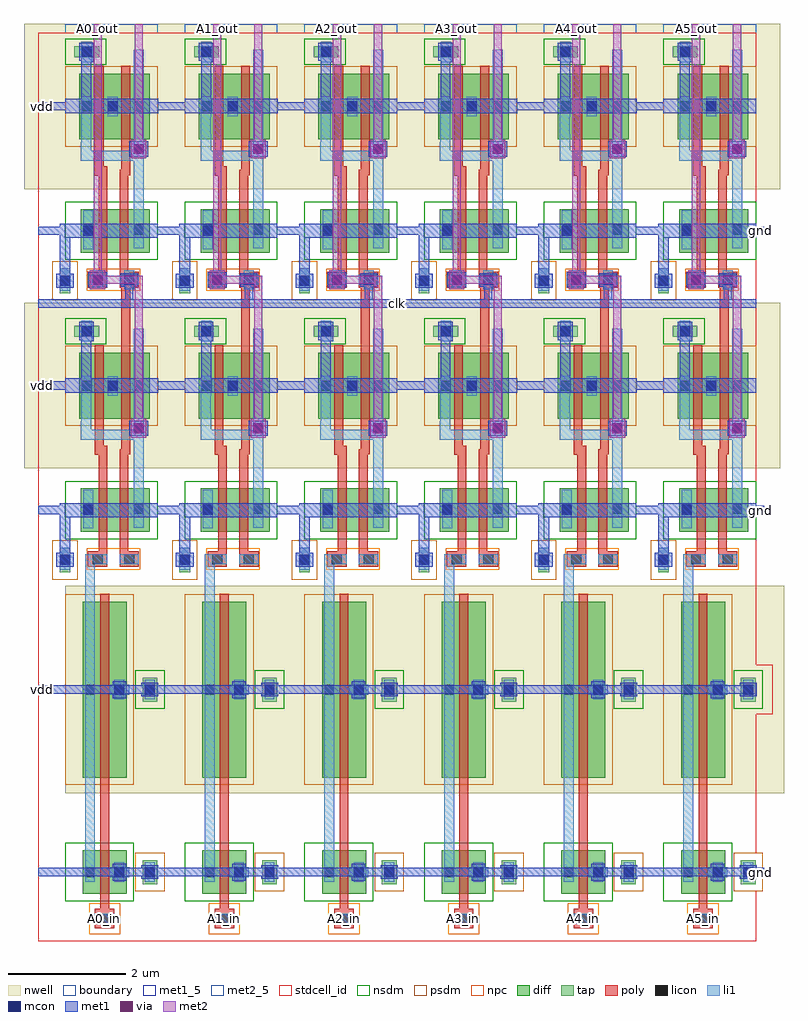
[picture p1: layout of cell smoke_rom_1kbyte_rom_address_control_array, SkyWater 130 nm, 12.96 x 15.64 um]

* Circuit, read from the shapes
.subckt smoke_rom_1kbyte_rom_address_control_array A0_in A0_out A1_in A1_out A2_in A2_out A3_in A3_out A4_in A4_out A5_in A5_out Abar0_out Abar1_out Abar2_out Abar3_out Abar4_out Abar5_out clk gnd vdd
XM1 n1 smoke_rom_1kbyte_rom_address_control_buf_0/sky130_fd_bd_sram__openram_sp_nand2_dec_1/B gnd gnd sky130_fd_pr__nfet_01v8 w=0.74 l=0.15
XM2 n2 A0_out gnd gnd sky130_fd_pr__nfet_01v8 w=0.74 l=0.15
XM3 gnd A0_in smoke_rom_1kbyte_rom_address_control_buf_0/sky130_fd_bd_sram__openram_sp_nand2_dec_1/B gnd sky130_fd_pr__nfet_01v8 w=0.74 l=0.15
XM4 A0_out clk n1 gnd sky130_fd_pr__nfet_01v8 w=0.74 l=0.15
XM5 Abar0_out clk n2 gnd sky130_fd_pr__nfet_01v8 w=0.74 l=0.15
XM6 n3 smoke_rom_1kbyte_rom_address_control_buf_1/sky130_fd_bd_sram__openram_sp_nand2_dec_1/B gnd gnd sky130_fd_pr__nfet_01v8 w=0.74 l=0.15
XM7 n4 A1_out gnd gnd sky130_fd_pr__nfet_01v8 w=0.74 l=0.15
XM8 gnd A1_in smoke_rom_1kbyte_rom_address_control_buf_1/sky130_fd_bd_sram__openram_sp_nand2_dec_1/B gnd sky130_fd_pr__nfet_01v8 w=0.74 l=0.15
XM9 A1_out clk n3 gnd sky130_fd_pr__nfet_01v8 w=0.74 l=0.15
XM10 Abar1_out clk n4 gnd sky130_fd_pr__nfet_01v8 w=0.74 l=0.15
XM11 n5 smoke_rom_1kbyte_rom_address_control_buf_2/sky130_fd_bd_sram__openram_sp_nand2_dec_1/B gnd gnd sky130_fd_pr__nfet_01v8 w=0.74 l=0.15
XM12 n6 A2_out gnd gnd sky130_fd_pr__nfet_01v8 w=0.74 l=0.15
XM13 gnd A2_in smoke_rom_1kbyte_rom_address_control_buf_2/sky130_fd_bd_sram__openram_sp_nand2_dec_1/B gnd sky130_fd_pr__nfet_01v8 w=0.74 l=0.15
XM14 A2_out clk n5 gnd sky130_fd_pr__nfet_01v8 w=0.74 l=0.15
XM15 Abar2_out clk n6 gnd sky130_fd_pr__nfet_01v8 w=0.74 l=0.15
XM16 n7 smoke_rom_1kbyte_rom_address_control_buf_3/sky130_fd_bd_sram__openram_sp_nand2_dec_1/B gnd gnd sky130_fd_pr__nfet_01v8 w=0.74 l=0.15
XM17 n8 A3_out gnd gnd sky130_fd_pr__nfet_01v8 w=0.74 l=0.15
XM18 gnd A3_in smoke_rom_1kbyte_rom_address_control_buf_3/sky130_fd_bd_sram__openram_sp_nand2_dec_1/B gnd sky130_fd_pr__nfet_01v8 w=0.74 l=0.15
XM19 A3_out clk n7 gnd sky130_fd_pr__nfet_01v8 w=0.74 l=0.15
XM20 Abar3_out clk n8 gnd sky130_fd_pr__nfet_01v8 w=0.74 l=0.15
XM21 n9 smoke_rom_1kbyte_rom_address_control_buf_4/sky130_fd_bd_sram__openram_sp_nand2_dec_1/B gnd gnd sky130_fd_pr__nfet_01v8 w=0.74 l=0.15
XM22 n10 A4_out gnd gnd sky130_fd_pr__nfet_01v8 w=0.74 l=0.15
XM23 gnd A4_in smoke_rom_1kbyte_rom_address_control_buf_4/sky130_fd_bd_sram__openram_sp_nand2_dec_1/B gnd sky130_fd_pr__nfet_01v8 w=0.74 l=0.15
XM24 A4_out clk n9 gnd sky130_fd_pr__nfet_01v8 w=0.74 l=0.15
XM25 Abar4_out clk n10 gnd sky130_fd_pr__nfet_01v8 w=0.74 l=0.15
XM26 n11 smoke_rom_1kbyte_rom_address_control_buf_5/sky130_fd_bd_sram__openram_sp_nand2_dec_1/B gnd gnd sky130_fd_pr__nfet_01v8 w=0.74 l=0.15
XM27 n12 A5_out gnd gnd sky130_fd_pr__nfet_01v8 w=0.74 l=0.15
XM28 gnd A5_in smoke_rom_1kbyte_rom_address_control_buf_5/sky130_fd_bd_sram__openram_sp_nand2_dec_1/B gnd sky130_fd_pr__nfet_01v8 w=0.74 l=0.15
XM29 A5_out clk n11 gnd sky130_fd_pr__nfet_01v8 w=0.74 l=0.15
XM30 Abar5_out clk n12 gnd sky130_fd_pr__nfet_01v8 w=0.74 l=0.15
XM31 vdd smoke_rom_1kbyte_rom_address_control_buf_0/sky130_fd_bd_sram__openram_sp_nand2_dec_1/B A0_out vdd sky130_fd_pr__pfet_01v8 w=1.12 l=0.15
XM32 vdd A0_out Abar0_out vdd sky130_fd_pr__pfet_01v8 w=1.12 l=0.15
XM33 vdd A0_in smoke_rom_1kbyte_rom_address_control_buf_0/sky130_fd_bd_sram__openram_sp_nand2_dec_1/B vdd sky130_fd_pr__pfet_01v8 w=3 l=0.15
XM34 A0_out clk vdd vdd sky130_fd_pr__pfet_01v8 w=1.12 l=0.15
XM35 Abar0_out clk vdd vdd sky130_fd_pr__pfet_01v8 w=1.12 l=0.15
XM36 vdd smoke_rom_1kbyte_rom_address_control_buf_1/sky130_fd_bd_sram__openram_sp_nand2_dec_1/B A1_out vdd sky130_fd_pr__pfet_01v8 w=1.12 l=0.15
XM37 vdd A1_out Abar1_out vdd sky130_fd_pr__pfet_01v8 w=1.12 l=0.15
XM38 vdd A1_in smoke_rom_1kbyte_rom_address_control_buf_1/sky130_fd_bd_sram__openram_sp_nand2_dec_1/B vdd sky130_fd_pr__pfet_01v8 w=3 l=0.15
XM39 A1_out clk vdd vdd sky130_fd_pr__pfet_01v8 w=1.12 l=0.15
XM40 Abar1_out clk vdd vdd sky130_fd_pr__pfet_01v8 w=1.12 l=0.15
XM41 vdd smoke_rom_1kbyte_rom_address_control_buf_2/sky130_fd_bd_sram__openram_sp_nand2_dec_1/B A2_out vdd sky130_fd_pr__pfet_01v8 w=1.12 l=0.15
XM42 vdd A2_out Abar2_out vdd sky130_fd_pr__pfet_01v8 w=1.12 l=0.15
XM43 vdd A2_in smoke_rom_1kbyte_rom_address_control_buf_2/sky130_fd_bd_sram__openram_sp_nand2_dec_1/B vdd sky130_fd_pr__pfet_01v8 w=3 l=0.15
XM44 A2_out clk vdd vdd sky130_fd_pr__pfet_01v8 w=1.12 l=0.15
XM45 Abar2_out clk vdd vdd sky130_fd_pr__pfet_01v8 w=1.12 l=0.15
XM46 vdd smoke_rom_1kbyte_rom_address_control_buf_3/sky130_fd_bd_sram__openram_sp_nand2_dec_1/B A3_out vdd sky130_fd_pr__pfet_01v8 w=1.12 l=0.15
XM47 vdd A3_out Abar3_out vdd sky130_fd_pr__pfet_01v8 w=1.12 l=0.15
XM48 vdd A3_in smoke_rom_1kbyte_rom_address_control_buf_3/sky130_fd_bd_sram__openram_sp_nand2_dec_1/B vdd sky130_fd_pr__pfet_01v8 w=3 l=0.15
XM49 A3_out clk vdd vdd sky130_fd_pr__pfet_01v8 w=1.12 l=0.15
XM50 Abar3_out clk vdd vdd sky130_fd_pr__pfet_01v8 w=1.12 l=0.15
XM51 vdd smoke_rom_1kbyte_rom_address_control_buf_4/sky130_fd_bd_sram__openram_sp_nand2_dec_1/B A4_out vdd sky130_fd_pr__pfet_01v8 w=1.12 l=0.15
XM52 vdd A4_out Abar4_out vdd sky130_fd_pr__pfet_01v8 w=1.12 l=0.15
XM53 vdd A4_in smoke_rom_1kbyte_rom_address_control_buf_4/sky130_fd_bd_sram__openram_sp_nand2_dec_1/B vdd sky130_fd_pr__pfet_01v8 w=3 l=0.15
XM54 A4_out clk vdd vdd sky130_fd_pr__pfet_01v8 w=1.12 l=0.15
XM55 Abar4_out clk vdd vdd sky130_fd_pr__pfet_01v8 w=1.12 l=0.15
XM56 vdd smoke_rom_1kbyte_rom_address_control_buf_5/sky130_fd_bd_sram__openram_sp_nand2_dec_1/B A5_out vdd sky130_fd_pr__pfet_01v8 w=1.12 l=0.15
XM57 vdd A5_out Abar5_out vdd sky130_fd_pr__pfet_01v8 w=1.12 l=0.15
XM58 vdd A5_in smoke_rom_1kbyte_rom_address_control_buf_5/sky130_fd_bd_sram__openram_sp_nand2_dec_1/B vdd sky130_fd_pr__pfet_01v8 w=3 l=0.15
XM59 A5_out clk vdd vdd sky130_fd_pr__pfet_01v8 w=1.12 l=0.15
XM60 Abar5_out clk vdd vdd sky130_fd_pr__pfet_01v8 w=1.12 l=0.15
.ends

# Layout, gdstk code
from math import pi, radians
import gdstk
lib = gdstk.Library(unit=1e-6, precision=1e-09)
def R(c, l, rs):  # rectangles x0, y0, x1, y1
    for r in rs: c.add(gdstk.rectangle(r[:2], r[2:], *l))
def A(c, l, x, y, w, h, nx, ny, dx, dy):  # array of equal rectangles
    R(c, l, [(x+i*dx, y+j*dy, x+i*dx+w, y+j*dy+h) for i in range(nx) for j in range(ny)])
nwell = (64, 20)
diff = (65, 20)
tap = (65, 44)
poly = (66, 20)
licon = (66, 44)
li1 = (67, 20)
mcon = (67, 44)
met1_5 = (68, 5)
met1 = (68, 20)
via = (68, 44)
met2_5 = (69, 5)
met2 = (69, 20)
stdcell_id = (81, 4)
nsdm = (93, 44)
psdm = (94, 20)
npc = (95, 20)
boundary = (235, 4)

smoke_rom_1kbyte_contact = lib.new_cell('smoke_rom_1kbyte_contact_10')
R(smoke_rom_1kbyte_contact, nwell, [(-0.295,-0.255,0.545,0.585)])
R(smoke_rom_1kbyte_contact, diff, [(0,0.02,0.25,0.31)])
R(smoke_rom_1kbyte_contact, licon, [(0.04,0.08,0.21,0.25)])
R(smoke_rom_1kbyte_contact, li1, [(0.04,0,0.21,0.33)])
R(smoke_rom_1kbyte_contact, stdcell_id, [(-0.295,-0.255,0.545,0.585)])
R(smoke_rom_1kbyte_contact, psdm, [(-0.125,-0.105,0.375,0.435)])
R(smoke_rom_1kbyte_contact, boundary, [(-0.295,-0.255,0.545,0.585)])

smoke_rom_1kbyte_pmos_m1 = lib.new_cell('smoke_rom_1kbyte_pmos_m1_w3_000_sli_dli_da_p')
R(smoke_rom_1kbyte_pmos_m1, nwell, [(-0.27,-0.27,1.02,3.27)])
R(smoke_rom_1kbyte_pmos_m1, diff, [(0,0,0.75,3)])
R(smoke_rom_1kbyte_pmos_m1, poly, [(0.3,-0.13,0.45,3.13), (0.3,-0.13,0.45,3.13)])
R(smoke_rom_1kbyte_pmos_m1, li1, [(0.04,1.335,0.21,1.665), (0.54,1.335,0.71,1.665)])
R(smoke_rom_1kbyte_pmos_m1, stdcell_id, [(-0.27,-0.27,1.02,3.27)])
R(smoke_rom_1kbyte_pmos_m1, psdm, [(-0.125,-0.125,0.875,3.125)])
R(smoke_rom_1kbyte_pmos_m1, boundary, [(-0.27,-0.27,1.02,3.27)])
smoke_rom_1kbyte_pmos_m1.add(gdstk.Reference(smoke_rom_1kbyte_contact, (0,1.335)))
smoke_rom_1kbyte_pmos_m1.add(gdstk.Reference(smoke_rom_1kbyte_contact, (0.5,1.335)))
smoke_rom_1kbyte_pmos_m1.add(gdstk.Label('G', (0.375,1.5), layer=66, texttype=5))
smoke_rom_1kbyte_pmos_m1.add(gdstk.Label('S', (0.125,1.5), layer=67, texttype=5))
smoke_rom_1kbyte_pmos_m1.add(gdstk.Label('D', (0.625,1.5), layer=67, texttype=5))

c_smoke_rom_1kbyte_contact = lib.new_cell('smoke_rom_1kbyte_contact_8')
R(c_smoke_rom_1kbyte_contact, diff, [(0,0.02,0.25,0.31)])
R(c_smoke_rom_1kbyte_contact, licon, [(0.04,0.08,0.21,0.25)])
R(c_smoke_rom_1kbyte_contact, li1, [(0.04,0,0.21,0.33)])
R(c_smoke_rom_1kbyte_contact, stdcell_id, [(-0.125,-0.105,0.375,0.435)])
R(c_smoke_rom_1kbyte_contact, nsdm, [(-0.125,-0.105,0.375,0.435)])
R(c_smoke_rom_1kbyte_contact, boundary, [(-0.125,-0.105,0.375,0.435)])

smoke_rom_1kbyte_nmos_m1 = lib.new_cell('smoke_rom_1kbyte_nmos_m1_w0_740_sli_dli_da_p')
R(smoke_rom_1kbyte_nmos_m1, diff, [(0,0,0.75,0.74)])
R(smoke_rom_1kbyte_nmos_m1, poly, [(0.3,-0.13,0.45,0.87), (0.3,-0.13,0.45,0.87)])
R(smoke_rom_1kbyte_nmos_m1, li1, [(0.04,0.205,0.21,0.535), (0.54,0.205,0.71,0.535)])
R(smoke_rom_1kbyte_nmos_m1, stdcell_id, [(-0.125,-0.13,0.875,0.87)])
R(smoke_rom_1kbyte_nmos_m1, nsdm, [(-0.125,-0.125,0.875,0.865)])
R(smoke_rom_1kbyte_nmos_m1, boundary, [(-0.125,-0.13,0.875,0.87)])
smoke_rom_1kbyte_nmos_m1.add(gdstk.Reference(c_smoke_rom_1kbyte_contact, (0,0.205)))
smoke_rom_1kbyte_nmos_m1.add(gdstk.Reference(c_smoke_rom_1kbyte_contact, (0.5,0.205)))
smoke_rom_1kbyte_nmos_m1.add(gdstk.Label('G', (0.375,0.37), layer=66, texttype=5))
smoke_rom_1kbyte_nmos_m1.add(gdstk.Label('S', (0.125,0.37), layer=67, texttype=5))
smoke_rom_1kbyte_nmos_m1.add(gdstk.Label('D', (0.625,0.37), layer=67, texttype=5))

c_smoke_rom_1kbyte_contact_ = lib.new_cell('smoke_rom_1kbyte_contact_11')
R(c_smoke_rom_1kbyte_contact_, poly, [(0,0,0.33,0.33)])
R(c_smoke_rom_1kbyte_contact_, licon, [(0.08,0.08,0.25,0.25)])
R(c_smoke_rom_1kbyte_contact_, li1, [(0.08,0,0.25,0.33)])
R(c_smoke_rom_1kbyte_contact_, stdcell_id, [(-0.1,-0.1,0.43,0.43)])
R(c_smoke_rom_1kbyte_contact_, npc, [(-0.1,-0.1,0.43,0.43)])
R(c_smoke_rom_1kbyte_contact_, boundary, [(-0.1,-0.1,0.43,0.43)])

c_smoke_rom_1kbyte_contact__ = lib.new_cell('smoke_rom_1kbyte_contact_12')
R(c_smoke_rom_1kbyte_contact__, li1, [(0.06,0,0.23,0.33)])
R(c_smoke_rom_1kbyte_contact__, mcon, [(0.06,0.08,0.23,0.25)])
R(c_smoke_rom_1kbyte_contact__, met1, [(0,0.05,0.29,0.28)])
R(c_smoke_rom_1kbyte_contact__, stdcell_id, [(0,0,0.29,0.33)])
R(c_smoke_rom_1kbyte_contact__, boundary, [(0,0,0.29,0.33)])

smoke_rom_1kbyte_inv_arr = lib.new_cell('smoke_rom_1kbyte_inv_array_mod')
R(smoke_rom_1kbyte_inv_arr, nwell, [(2.52,0,6.06,2.055)])
R(smoke_rom_1kbyte_inv_arr, poly, [(0.385,0.6,0.68,0.75), (1.68,0.6,2.66,0.75)])
R(smoke_rom_1kbyte_inv_arr, li1, [(1.015,0.34,5.97,0.51), (0.3,0.51,0.47,0.84)])
R(smoke_rom_1kbyte_inv_arr, met1_5, [(1.11,0,1.25,1.58), (4.22,0,4.36,1.58)])
R(smoke_rom_1kbyte_inv_arr, met1, [(1.11,0,1.25,1.58), (4.22,0,4.36,1.58)])
R(smoke_rom_1kbyte_inv_arr, stdcell_id, [(0,0,5.97,1.58), (0,0,5.97,1.58)])
R(smoke_rom_1kbyte_inv_arr, nsdm, [(0.685,0,1.675,1.05)])
R(smoke_rom_1kbyte_inv_arr, psdm, [(2.665,0,5.915,1.05)])
R(smoke_rom_1kbyte_inv_arr, boundary, [(0,0,5.97,1.58), (0,0,5.97,1.58)])
smoke_rom_1kbyte_inv_arr.add(gdstk.Reference(smoke_rom_1kbyte_pmos_m1, (2.79,1.05), rotation=3*pi/2))
smoke_rom_1kbyte_inv_arr.add(gdstk.Reference(smoke_rom_1kbyte_nmos_m1, (0.81,1.05), rotation=3*pi/2))
smoke_rom_1kbyte_inv_arr.add(gdstk.Reference(c_smoke_rom_1kbyte_contact_, (0.22,0.51)))
smoke_rom_1kbyte_inv_arr.add(gdstk.Reference(c_smoke_rom_1kbyte_contact__, (1.035,0.76)))
smoke_rom_1kbyte_inv_arr.add(gdstk.Reference(c_smoke_rom_1kbyte_contact__, (4.145,0.76)))
smoke_rom_1kbyte_inv_arr.add(gdstk.Label('A', (0.385,0.675), layer=67, texttype=5))
smoke_rom_1kbyte_inv_arr.add(gdstk.Label('Z', (3.492,0.425), layer=67, texttype=5))
smoke_rom_1kbyte_inv_arr.add(gdstk.Label('gnd', (1.18,0.79), layer=68, texttype=5))
smoke_rom_1kbyte_inv_arr.add(gdstk.Label('vdd', (4.29,0.79), layer=68, texttype=5))

sky130_fd_bd_sram__openr = lib.new_cell('sky130_fd_bd_sram__openram_sp_nand2_dec')
R(sky130_fd_bd_sram__openr, nwell, [(1.95,-0.7,4.77,1.99)])
R(sky130_fd_bd_sram__openr, diff, [(2.8,0.24,3.92,1.445), (0.87,0.27,1.61,1.445)])
R(sky130_fd_bd_sram__openr, tap, [(0.18,-0.09,0.6,0.09), (4.195,0.16,4.385,0.58)])
R(sky130_fd_bd_sram__openr, poly, [(0.27,0.39,0.54,0.57), (2.18,0.51,4.05,0.57), (0.27,0.57,4.05,0.66), (0.27,0.66,2.34,0.72), (0.27,0.93,2.28,0.96), (0.27,0.96,4.05,1.08), (0.27,1.08,0.54,1.26), (2.19,1.08,4.05,1.11)])
R(sky130_fd_bd_sram__openr, licon, [(0.305,-0.085,0.475,0.085), (3.275,0.28,3.445,0.45), (4.205,0.285,4.375,0.455), (1.185,0.31,1.355,0.48), (0.32,0.47,0.49,0.64), (3.275,0.73,3.445,0.9), (0.32,1.01,0.49,1.18), (1.175,1.17,1.345,1.34), (3.275,1.17,3.445,1.34)])
R(sky130_fd_bd_sram__openr, li1, [(0.22,-0.09,0.6,0.09), (2.435,0.27,2.75,0.275), (2.435,0.275,3.315,0.28), (2.435,0.28,3.53,0.445), (4.115,0.28,4.465,0.46), (0.93,0.31,1.59,0.48), (0.32,0.39,0.49,0.72), (0.32,0.39,0.49,0.72), (2.435,0.445,2.88,0.45), (3.19,0.445,3.53,0.45), (2.435,0.45,2.605,1.17), (3.19,0.73,3.525,0.9), (0.32,0.93,0.49,1.26), (0.32,0.93,0.49,1.26), (0.94,1.17,4.33,1.34), (0.94,1.17,4.33,1.34)])
R(sky130_fd_bd_sram__openr, mcon, [(0.305,-0.085,0.475,0.085), (4.205,0.285,4.375,0.455), (1.16,0.31,1.33,0.48), (3.275,0.73,3.445,0.9)])
R(sky130_fd_bd_sram__openr, met1_5, [(1.12,-0.005,1.36,1.58), (1.12,-0.005,1.36,1.58), (3.24,0.45,3.49,1.585), (3.24,0.45,3.49,1.585)])
R(sky130_fd_bd_sram__openr, met1, [(0.27,-0.15,0.51,-0.09), (0.27,-0.09,1.36,0.09), (1.12,-0.005,1.36,1.58), (3.24,0,3.49,0.28), (0.27,0.09,0.51,0.15), (1.12,0.09,1.36,1.58), (4.135,0.24,4.45,0.28), (3.24,0.28,4.45,0.45), (3.24,0.45,3.49,1.585), (3.24,0.45,3.49,1.585), (4.115,0.45,4.45,0.49)])
R(sky130_fd_bd_sram__openr, nsdm, [(0.745,0,1.735,1.58), (4.07,0,4.51,0.705)])
R(sky130_fd_bd_sram__openr, psdm, [(0.055,-0.215,0.725,0.215), (2.675,0,4.045,1.58)])
R(sky130_fd_bd_sram__openr, npc, [(0.22,0.37,0.59,1.28)])
R(sky130_fd_bd_sram__openr, boundary, [(0,0,4.76,1.58)])
sky130_fd_bd_sram__openr.add(gdstk.Label('GND', (1.24,0.782), layer=68, texttype=5))
sky130_fd_bd_sram__openr.add(gdstk.Label('VDD', (3.365,1.03), layer=68, texttype=5))
sky130_fd_bd_sram__openr.add(gdstk.Label('vdd', (3.365,1.03), layer=68, texttype=5))
sky130_fd_bd_sram__openr.add(gdstk.Label('gnd', (1.24,0.78), layer=68, texttype=5))
sky130_fd_bd_sram__openr.add(gdstk.Label('A', (0.405,1.095), layer=67, texttype=5))
sky130_fd_bd_sram__openr.add(gdstk.Label('B', (0.405,0.555), layer=67, texttype=5))
sky130_fd_bd_sram__openr.add(gdstk.Label('Z', (2.635,1.255), layer=67, texttype=5))
sky130_fd_bd_sram__openr.add(gdstk.Label('A', (0.405,1.095), layer=67, texttype=5))
sky130_fd_bd_sram__openr.add(gdstk.Label('B', (0.405,0.555), layer=67, texttype=5))
sky130_fd_bd_sram__openr.add(gdstk.Label('Z', (2.635,1.255), layer=67, texttype=5))
sky130_fd_bd_sram__openr.add(gdstk.Label('vdd', (3.365,1.018), layer=68, texttype=5))
sky130_fd_bd_sram__openr.add(gdstk.Label('gnd', (1.24,0.788), layer=68, texttype=5))

c_smoke_rom_1kbyte_contact___ = lib.new_cell('smoke_rom_1kbyte_contact_13')
R(c_smoke_rom_1kbyte_contact___, met1, [(0,0.03,0.32,0.29)])
R(c_smoke_rom_1kbyte_contact___, via, [(0.085,0.085,0.235,0.235)])
R(c_smoke_rom_1kbyte_contact___, met2, [(0.03,0,0.29,0.32)])
R(c_smoke_rom_1kbyte_contact___, stdcell_id, [(0,0,0.32,0.32)])
R(c_smoke_rom_1kbyte_contact___, boundary, [(0,0,0.32,0.32)])

c_smoke_rom_1kbyte_contact____ = lib.new_cell('smoke_rom_1kbyte_contact_19')
R(c_smoke_rom_1kbyte_contact____, nwell, [(-0.295,-0.215,0.545,0.625)])
R(c_smoke_rom_1kbyte_contact____, tap, [(0,0,0.25,0.41)])
R(c_smoke_rom_1kbyte_contact____, licon, [(0.04,0.12,0.21,0.29)])
R(c_smoke_rom_1kbyte_contact____, li1, [(0.04,0.04,0.21,0.37)])
R(c_smoke_rom_1kbyte_contact____, stdcell_id, [(-0.295,-0.215,0.545,0.625)])
R(c_smoke_rom_1kbyte_contact____, nsdm, [(-0.125,-0.125,0.375,0.535)])
R(c_smoke_rom_1kbyte_contact____, boundary, [(-0.295,-0.215,0.545,0.625)])

c_smoke_rom_1kbyte_contact_____ = lib.new_cell('smoke_rom_1kbyte_contact_20')
R(c_smoke_rom_1kbyte_contact_____, tap, [(0,0,0.25,0.41)])
R(c_smoke_rom_1kbyte_contact_____, licon, [(0.04,0.12,0.21,0.29)])
R(c_smoke_rom_1kbyte_contact_____, li1, [(0.04,0.04,0.21,0.37)])
R(c_smoke_rom_1kbyte_contact_____, stdcell_id, [(-0.125,-0.125,0.375,0.535)])
R(c_smoke_rom_1kbyte_contact_____, psdm, [(-0.125,-0.125,0.375,0.535)])
R(c_smoke_rom_1kbyte_contact_____, boundary, [(-0.125,-0.125,0.375,0.535)])

smoke_rom_1kbyte_rom_add = lib.new_cell('smoke_rom_1kbyte_rom_address_control_buf')
R(smoke_rom_1kbyte_rom_add, poly, [(0.47,8.745,0.62,11.275)])
R(smoke_rom_1kbyte_rom_add, li1, [(0.74,0.3,1.07,0.47), (1.07,3.49,1.24,6.6)])
R(smoke_rom_1kbyte_rom_add, met1_5, [(0,1.11,1.58,1.25), (0,4.22,1.58,4.36), (0,7.23,1.585,7.47), (-0.005,9.35,1.13,9.6), (0.415,10.8,0.555,10.94), (0,11.99,1.585,12.23), (-0.005,14.11,1.13,14.36)])
R(smoke_rom_1kbyte_rom_add, met1, [(0,1.11,1.58,1.25), (0,4.22,1.58,4.36), (0,7.23,1.585,7.47), (0.165,8.615,0.485,8.875), (-0.005,9.35,1.13,9.6), (0.415,10.8,0.555,10.94), (0.415,10.87,0.555,11.275), (0.865,11.145,1.185,11.405), (0,11.99,1.585,12.23), (0.165,13.375,0.485,13.635), (-0.005,14.11,1.13,14.36)])
R(smoke_rom_1kbyte_rom_add, met2_5, [(0.255,15.49,0.395,15.63), (0.955,15.49,1.095,15.63)])
R(smoke_rom_1kbyte_rom_add, met2, [(0.255,8.745,0.395,11.275), (0.255,11.205,0.395,11.345), (0.325,11.205,1.025,11.345), (0.955,11.275,1.095,15.63), (0.255,13.505,0.395,15.63), (0.255,15.49,0.395,15.63), (0.955,15.49,1.095,15.63)])
R(smoke_rom_1kbyte_rom_add, stdcell_id, [(0,0,2.04,15.49)])
R(smoke_rom_1kbyte_rom_add, boundary, [(0,0,2.04,15.49)])
smoke_rom_1kbyte_rom_add.add(gdstk.Reference(smoke_rom_1kbyte_inv_arr, (1.58,0), rotation=pi/2))
smoke_rom_1kbyte_rom_add.add(gdstk.Reference(sky130_fd_bd_sram__openr, (1.58,6.11), rotation=pi/2))
smoke_rom_1kbyte_rom_add.add(gdstk.Reference(sky130_fd_bd_sram__openr, (1.58,10.87), rotation=pi/2))
smoke_rom_1kbyte_rom_add.add(gdstk.Reference(c_smoke_rom_1kbyte_contact__, (0.34,11.11)))
smoke_rom_1kbyte_rom_add.add(gdstk.Reference(c_smoke_rom_1kbyte_contact__, (0.88,11.11)))
smoke_rom_1kbyte_rom_add.add(gdstk.Reference(c_smoke_rom_1kbyte_contact___, (0.865,11.115)))
smoke_rom_1kbyte_rom_add.add(gdstk.Reference(c_smoke_rom_1kbyte_contact__, (0.18,8.58)))
smoke_rom_1kbyte_rom_add.add(gdstk.Reference(c_smoke_rom_1kbyte_contact___, (0.165,8.585)))
smoke_rom_1kbyte_rom_add.add(gdstk.Reference(c_smoke_rom_1kbyte_contact__, (0.18,13.34)))
smoke_rom_1kbyte_rom_add.add(gdstk.Reference(c_smoke_rom_1kbyte_contact___, (0.165,13.345)))
smoke_rom_1kbyte_rom_add.add(gdstk.Reference(c_smoke_rom_1kbyte_contact____, (0.01,4.085)))
smoke_rom_1kbyte_rom_add.add(gdstk.Reference(c_smoke_rom_1kbyte_contact__, (-0.01,4.125)))
smoke_rom_1kbyte_rom_add.add(gdstk.Reference(c_smoke_rom_1kbyte_contact_____, (0.01,0.975)))
smoke_rom_1kbyte_rom_add.add(gdstk.Reference(c_smoke_rom_1kbyte_contact__, (-0.01,1.015)))
smoke_rom_1kbyte_rom_add.add(gdstk.Label('clk', (0.485,10.87), layer=68, texttype=5))
smoke_rom_1kbyte_rom_add.add(gdstk.Label('A_out', (1.025,15.56), layer=69, texttype=5))
smoke_rom_1kbyte_rom_add.add(gdstk.Label('Abar_out', (0.325,15.56), layer=69, texttype=5))
smoke_rom_1kbyte_rom_add.add(gdstk.Label('A_in', (0.905,0.385), layer=67, texttype=5))
smoke_rom_1kbyte_rom_add.add(gdstk.Label('vdd', (0.563,14.235), layer=68, texttype=5))
smoke_rom_1kbyte_rom_add.add(gdstk.Label('vdd', (0.563,9.475), layer=68, texttype=5))
smoke_rom_1kbyte_rom_add.add(gdstk.Label('vdd', (0.79,4.29), layer=68, texttype=5))
smoke_rom_1kbyte_rom_add.add(gdstk.Label('gnd', (0.792,7.35), layer=68, texttype=5))
smoke_rom_1kbyte_rom_add.add(gdstk.Label('gnd', (0.792,12.11), layer=68, texttype=5))
smoke_rom_1kbyte_rom_add.add(gdstk.Label('gnd', (0.79,1.18), layer=68, texttype=5))

c_smoke_rom_1kbyte_rom_add = lib.new_cell('smoke_rom_1kbyte_rom_address_control_array')
A(c_smoke_rom_1kbyte_rom_add, li1, 0.97, 0.3, 0.33, 0.17, 6, 1, 2.04, 0)
R(c_smoke_rom_1kbyte_rom_add, met1_5, [(12.24,1.11,12.38,1.25), (0,4.22,0.14,4.36), (12.24,7.28,12.38,7.42), (0,9.405,0.14,9.545), (0,10.8,12.24,10.94), (12.24,12.04,12.38,12.18), (0,14.165,0.14,14.305)])
A(c_smoke_rom_1kbyte_rom_add, met1, 1.18, 1.11, 0.14, 0.14, 6, 2, 2.04, 3.11)
A(c_smoke_rom_1kbyte_rom_add, met1, 1.18, 7.28, 0.14, 0.14, 6, 2, 2.04, 4.76)
A(c_smoke_rom_1kbyte_rom_add, met1, 1.41, 9.405, 0.14, 0.14, 6, 2, 2.04, 4.76)
A(c_smoke_rom_1kbyte_rom_add, met1, 1.485, 10.8, 0.14, 0.14, 6, 1, 2.04, 0)
R(c_smoke_rom_1kbyte_rom_add, met1, [(0,1.11,12.24,1.25), (12.24,1.11,12.38,1.25), (0,4.22,0.14,4.36), (0,4.22,12.24,4.36), (0,7.28,12.24,7.42), (12.24,7.28,12.38,7.42), (0,9.405,0.14,9.545), (0,9.405,12.245,9.545), (0,10.8,12.24,10.94), (0,12.04,12.24,12.18), (12.24,12.04,12.38,12.18), (0,14.165,0.14,14.305), (0,14.165,12.245,14.305)])
R(c_smoke_rom_1kbyte_rom_add, met2_5, [(0.945,15.49,1.085,15.63), (1.645,15.49,1.785,15.63), (2.985,15.49,3.125,15.63), (3.685,15.49,3.825,15.63), (5.025,15.49,5.165,15.63), (5.725,15.49,5.865,15.63), (7.065,15.49,7.205,15.63), (7.765,15.49,7.905,15.63), (9.105,15.49,9.245,15.63), (9.805,15.49,9.945,15.63), (11.145,15.49,11.285,15.63), (11.845,15.49,11.985,15.63)])
R(c_smoke_rom_1kbyte_rom_add, met2, [(0.945,15.49,1.085,15.63), (1.645,15.49,1.785,15.63), (2.985,15.49,3.125,15.63), (3.685,15.49,3.825,15.63), (5.025,15.49,5.165,15.63), (5.725,15.49,5.865,15.63), (7.065,15.49,7.205,15.63), (7.765,15.49,7.905,15.63), (9.105,15.49,9.245,15.63), (9.805,15.49,9.945,15.63), (11.145,15.49,11.285,15.63), (11.845,15.49,11.985,15.63)])
R(c_smoke_rom_1kbyte_rom_add, stdcell_id, [(0,0,12.24,15.49)])
R(c_smoke_rom_1kbyte_rom_add, boundary, [(0,0,12.24,15.49)])
c_smoke_rom_1kbyte_rom_add.add(gdstk.Reference(smoke_rom_1kbyte_rom_add, (2.04,0), rotation=pi, x_reflection=True))
c_smoke_rom_1kbyte_rom_add.add(gdstk.Reference(smoke_rom_1kbyte_rom_add, (4.08,0), rotation=pi, x_reflection=True))
c_smoke_rom_1kbyte_rom_add.add(gdstk.Reference(smoke_rom_1kbyte_rom_add, (6.12,0), rotation=pi, x_reflection=True))
c_smoke_rom_1kbyte_rom_add.add(gdstk.Reference(smoke_rom_1kbyte_rom_add, (8.16,0), rotation=pi, x_reflection=True))
c_smoke_rom_1kbyte_rom_add.add(gdstk.Reference(smoke_rom_1kbyte_rom_add, (10.2,0), rotation=pi, x_reflection=True))
c_smoke_rom_1kbyte_rom_add.add(gdstk.Reference(smoke_rom_1kbyte_rom_add, (12.24,0), rotation=pi, x_reflection=True))
c_smoke_rom_1kbyte_rom_add.add(gdstk.Label('clk', (6.12,10.87), layer=68, texttype=5))
c_smoke_rom_1kbyte_rom_add.add(gdstk.Label('vdd', (0.07,9.475), layer=68, texttype=5))
c_smoke_rom_1kbyte_rom_add.add(gdstk.Label('vdd', (0.07,4.29), layer=68, texttype=5))
c_smoke_rom_1kbyte_rom_add.add(gdstk.Label('vdd', (0.07,14.235), layer=68, texttype=5))
c_smoke_rom_1kbyte_rom_add.add(gdstk.Label('gnd', (12.31,7.35), layer=68, texttype=5))
c_smoke_rom_1kbyte_rom_add.add(gdstk.Label('gnd', (12.31,1.18), layer=68, texttype=5))
c_smoke_rom_1kbyte_rom_add.add(gdstk.Label('gnd', (12.31,12.11), layer=68, texttype=5))
c_smoke_rom_1kbyte_rom_add.add(gdstk.Label('A0_out', (1.015,15.56), layer=69, texttype=5))
c_smoke_rom_1kbyte_rom_add.add(gdstk.Label('Abar0_out', (1.715,15.56), layer=69, texttype=5))
c_smoke_rom_1kbyte_rom_add.add(gdstk.Label('A0_in', (1.135,0.385), layer=67, texttype=5))
c_smoke_rom_1kbyte_rom_add.add(gdstk.Label('A1_out', (3.055,15.56), layer=69, texttype=5))
c_smoke_rom_1kbyte_rom_add.add(gdstk.Label('Abar1_out', (3.755,15.56), layer=69, texttype=5))
c_smoke_rom_1kbyte_rom_add.add(gdstk.Label('A1_in', (3.175,0.385), layer=67, texttype=5))
c_smoke_rom_1kbyte_rom_add.add(gdstk.Label('A2_out', (5.095,15.56), layer=69, texttype=5))
c_smoke_rom_1kbyte_rom_add.add(gdstk.Label('Abar2_out', (5.795,15.56), layer=69, texttype=5))
c_smoke_rom_1kbyte_rom_add.add(gdstk.Label('A2_in', (5.215,0.385), layer=67, texttype=5))
c_smoke_rom_1kbyte_rom_add.add(gdstk.Label('A3_out', (7.135,15.56), layer=69, texttype=5))
c_smoke_rom_1kbyte_rom_add.add(gdstk.Label('Abar3_out', (7.835,15.56), layer=69, texttype=5))
c_smoke_rom_1kbyte_rom_add.add(gdstk.Label('A3_in', (7.255,0.385), layer=67, texttype=5))
c_smoke_rom_1kbyte_rom_add.add(gdstk.Label('A4_out', (9.175,15.56), layer=69, texttype=5))
c_smoke_rom_1kbyte_rom_add.add(gdstk.Label('Abar4_out', (9.875,15.56), layer=69, texttype=5))
c_smoke_rom_1kbyte_rom_add.add(gdstk.Label('A4_in', (9.295,0.385), layer=67, texttype=5))
c_smoke_rom_1kbyte_rom_add.add(gdstk.Label('A5_out', (11.215,15.56), layer=69, texttype=5))
c_smoke_rom_1kbyte_rom_add.add(gdstk.Label('Abar5_out', (11.915,15.56), layer=69, texttype=5))
c_smoke_rom_1kbyte_rom_add.add(gdstk.Label('A5_in', (11.335,0.385), layer=67, texttype=5))

lib.write_gds('smoke_rom_1kbyte_rom_address_control_array.gds')
